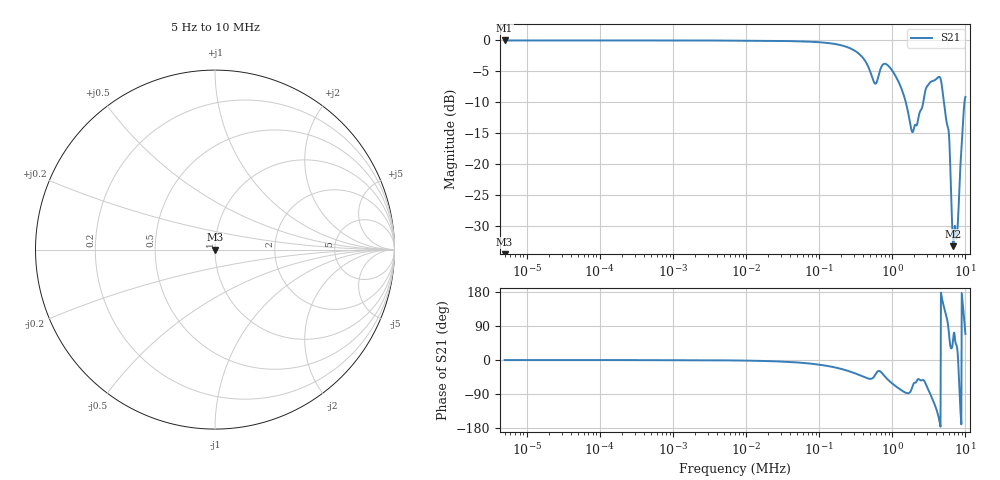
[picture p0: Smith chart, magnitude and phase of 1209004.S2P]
!Agilent Technologies,E5061B,MY49204007,A.02.12
!Date: Fri Sep 12 10:28:10 2025
!Data & Calibration Information:
!Freq	S11:SOLT2(OFF)	S21:SOLT2(OFF)	S12:SOLT2(OFF)	S22:SOLT2(OFF)
# Hz S dB R 50
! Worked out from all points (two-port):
!   1041 points, 5 Hz to 10 MHz, reference 50 ohm
!   highest |S21| = -0.04 dB at 5 Hz (marker M1); lowest = -33.2 dB at 6.819 MHz (marker M2)
!   |S21| within 3 dB of the highest: start of sweep to 409 kHz
!   lowest |S11| = - dB at 5 Hz (marker M3), VSWR 1.00, Z = 50 + j0 ohm
!   |S11| at or under -10 dB: start of sweep to end of sweep
!   S12 and S22 are empty: the file has one direction only
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5  -200.00 0.0  -0.04 -0.2  -200.00 0.0  -200.00 0.0
56.522  -200.00 0.0  -0.04 -0.2  -200.00 0.0  -200.00 0.0
632.897  -200.00 0.0  -0.04 -0.3  -200.00 0.0  -200.00 0.0
7154.49  -200.00 0.0  -0.06 -1.2  -200.00 0.0  -200.00 0.0
80111.67  -200.00 0.0  -0.25 -10.0  -200.00 0.0  -200.00 0.0
194439.3  -200.00 0.0  -0.78 -22.8  -200.00 0.0  -200.00 0.0
374577.9  -200.00 0.0  -2.50 -41.6  -200.00 0.0  -200.00 0.0
529484.8  -200.00 0.0  -5.91 -48.7  -200.00 0.0  -200.00 0.0
638850.4  -200.00 0.0  -6.06 -29.4  -200.00 0.0  -200.00 0.0
893075.1  -200.00 0.0  -4.18 -53.8  -200.00 0.0  -200.00 0.0
1438279  -200.00 0.0  -8.89 -83.8  -200.00 0.0  -200.00 0.0
1887148  -200.00 0.0  -14.83 -70.4  -200.00 0.0  -200.00 0.0
2861926  -200.00 0.0  -7.94 -62.8  -200.00 0.0  -200.00 0.0
3682284  -200.00 0.0  -6.52 -110.9  -200.00 0.0  -200.00 0.0
4505004  -200.00 0.0  -6.02 -169.5  -200.00 0.0  -200.00 0.0
5010878  -200.00 0.0  -9.42 145.1  -200.00 0.0  -200.00 0.0
5773548  -200.00 0.0  -14.06 94.5  -200.00 0.0  -200.00 0.0
6819431  -200.00 0.0  -33.23 56.7  -200.00 0.0  -200.00 0.0
7168058  -200.00 0.0  -29.95 59.3  -200.00 0.0  -200.00 0.0
7837659  -200.00 0.0  -30.10 18.4  -200.00 0.0  -200.00 0.0
9038960  -200.00 0.0  -15.64 164.7  -200.00 0.0  -200.00 0.0
1e7  -200.00 0.0  -9.15 68.9  -200.00 0.0  -200.00 0.0
